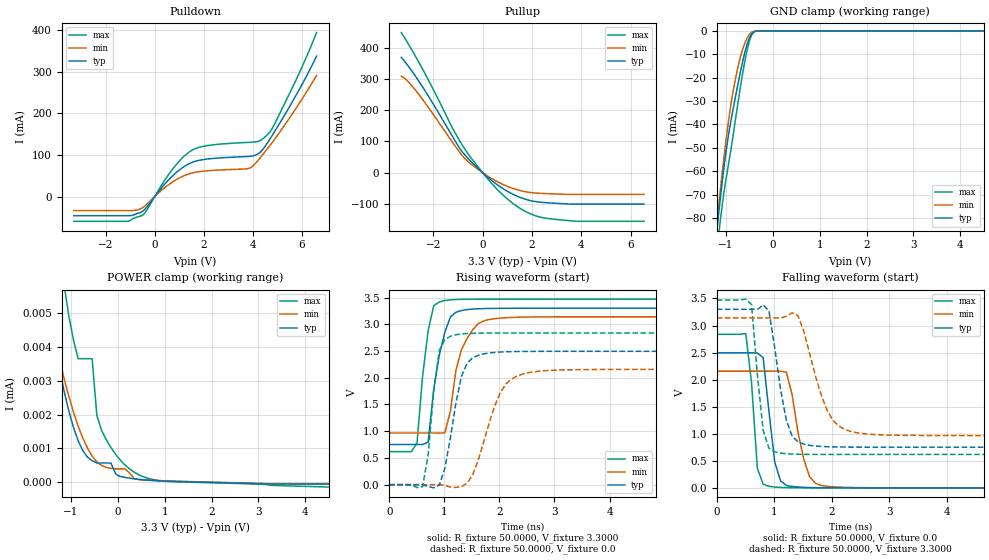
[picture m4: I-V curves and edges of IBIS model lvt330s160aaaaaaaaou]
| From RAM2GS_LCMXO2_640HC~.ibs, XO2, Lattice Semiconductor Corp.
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[Model]   lvt330s160aaaaaaaaou
Model_type   Output
Polarity   Non-Inverting
Enable   Active-Low
Vmeas =   1.500000V
Cref =   0.0F
Rref =   1.0000M
Vref =   0.0V
C_comp   4.2000pF   3.8000pF   7.5000pF
[Temperature Range]   25.0000   0.1050k   -40.0000
[Voltage Range]   3.3000V   3.1400V   3.4700V
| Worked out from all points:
|   slope of the pulldown table from 0 to 0.495 V, typ, clamps not added: 13.9 ohm
|   slope of the pullup table from 0 to 0.495 V, typ, clamps not added: 15.1 ohm
|   GND clamp passes 1 mA (typ) near -0.44 V on its own axis
|   rising waveform, R_fixture 50.0000, V_fixture 3.3000: 20-80 % time 241ps typ, 285ps min, 173ps max; typ from 0.752 V to 3.3 V
|   rising waveform, R_fixture 50.0000, V_fixture 0.0: 20-80 % time 262ps typ, 413ps min, 170ps max; typ from 0 V to 2.49 V
|   falling waveform, R_fixture 50.0000, V_fixture 0.0: 20-80 % time 158ps typ, 236ps min, 124ps max; typ from 2.49 V to 0 V
|   falling waveform, R_fixture 50.0000, V_fixture 3.3000: 20-80 % time 230ps typ, 378ps min, 152ps max; typ from 3.3 V to 0.752 V
[Pulldown]
|Voltage   I(typ)   I(min)   I(max)
-3.3V     -46.05mA   -33.74mA   -59.55mA
-1.1V     -46.05mA   -33.74mA   -59.55mA
-500mV    -35.8mA    -27.15mA   -45.23mA
700mV     48.06mA    34mA       63.55mA
1.5V      81.57mA    56.2mA     110.6mA
2.2V      90.42mA    62.08mA    122.9mA
3.8V      96.2mA     67.07mA    130.1mA
4.4V      112.6mA    100.4mA    138.4mA
4.7V      138.5mA    122.9mA    155.1mA
4.9V      157.3mA    138.6mA    176mA
5.9V      257.9mA    224.8mA    297.8mA
6.6V      337.4mA    290.9mA    394mA
[Pullup]
|Voltage   I(typ)   I(min)   I(max)
-3.3V     368.8mA    308.5mA    448.2mA
-3V       339mA      289.2mA    409.4mA
-2.6V     293.9mA    251.4mA    354.3mA
-1.2V     112.6mA    94.92mA    139.1mA
-800mV    64.3mA     52.05mA    84.62mA
-400mV    29.88mA    23.1mA     40.29mA
300mV     -20.61mA   -15.5mA    -28.44mA
1.2V      -67.79mA   -49.58mA   -96.57mA
1.9V      -88.52mA   -62.97mA   -130.2mA
2.7V      -96.45mA   -67.2mA    -146.9mA
3.8V      -100.5mA   -69.39mA   -155.3mA
6.55V     -100.5mA   -69.39mA   -155.4mA
[GND_clamp]
|Voltage   I(typ)   I(min)   I(max)
-3.3V     -955.3mA   -930.3mA   -978mA
-1.2V     -86.18mA   -82.93mA   -94.91mA
-1.15V    -76.73mA   -73.29mA   -85.74mA
-1.1V     -67.71mA   -63.95mA   -77.28mA
-1V       -51.52mA   -46.57mA   -63.21mA
-900mV    -38.87mA   -31.88mA   -51.26mA
-800mV    -28.25mA   -20.58mA   -37.97mA
-700mV    -18.1mA    -11.63mA   -24.81mA
-600mV    -9.267mA   -5.265mA   -13.06mA
-450mV    -1.181mA   -586.6uA   -1.592mA
-250mV    -3.532uA   -4.055uA   -3.003uA
6.6V      0A         0A         0A
[POWER_clamp]
|Voltage   I(typ)   I(min)   I(max)
-3.25V    664.8uA    749.4uA    597.1uA
-1.55V    5.917uA    5.715uA    11.4uA
-1.45V    4.99uA     4.976uA    9.754uA
-1.15V    2.706uA    3.075uA    5.866uA
-850mV    1.228uA    1.664uA    3.657uA
-550mV    633.4nA    768.7nA    3.657uA
-450mV    565.7nA    597.6nA    1.977uA
-150mV    565.7nA    406.3nA    1.026uA
0V        190.5nA    393.1nA    734.7nA
450mV     79.23nA    72.94nA    213.9nA
950mV     30.32nA    38.42nA    33.55nA
6.6V      -57.56nA   -49.34nA   -232.5nA
[Ramp]
| variable   typ   min   max
dV/dt_r  1.4966/0.2592n   1.2936/0.4087n   1.7021/0.1678n
dV/dt_f  1.5290/0.2281n   1.3043/0.3741n   1.7112/0.1501n
R_load = 50.0000
[Rising Waveform]
R_fixture=   50.0000
V_fixture=   3.3000
V_fixture_min=   3.1400
V_fixture_max=   3.4700
|time   V(typ)   V(min)   V(max)
0s        751.6mV    966.1mV    618mV
505.1ps   751.7mV    966.1mV    782.9mV
606.1ps   750.5mV    966.1mV    2.026V
707.1ps   795mV      966.1mV    2.88V
808.1ps   1.786V     966.4mV    3.346V
909.1ps   2.419V     965.5mV    3.418V
1.01ns    2.851V     968.1mV    3.444V
1.313ns   3.256V     2.529V     3.466V
1.818ns   3.296V     3.089V     3.47V
10ns      3.3V       3.14V      3.47V
[Rising Waveform]
R_fixture=   50.0000
V_fixture=   0.0
V_fixture_min=   0.0
V_fixture_max=   0.0
|time   V(typ)   V(min)   V(max)
0s        484.9nV    653.8nV    458.4nV
606.1ps   -928.3uV   2.015uV    -38.81mV
707.1ps   -36.03mV   19.4uV     559mV
909.1ps   -7.501mV   -591.8uV   2.51V
1.111ns   876.5mV    -46.71mV   2.776V
1.313ns   2.029V     -34.83mV   2.819V
1.414ns   2.272V     25.73mV    2.827V
2.02ns    2.481V     1.727V     2.837V
2.424ns   2.492V     2.07V      2.837V
10ns      2.494V     2.156V     2.837V
[Falling Waveform]
R_fixture=   50.0000
V_fixture=   0.0
V_fixture_min=   0.0
V_fixture_max=   0.0
|time   V(typ)   V(min)   V(max)
0s        2.494V     2.156V     2.837V
505.1ps   2.494V     2.156V     2.85V
707.1ps   2.49V      2.156V     363.7mV
808.1ps   2.407V     2.156V     67.81mV
909.1ps   1.413V     2.156V     29.42mV
1.111ns   126.2mV    2.154V     7.547mV
1.212ns   43.67mV    2.138V     3.842mV
1.616ns   6.181mV    206.6mV    298.8uV
1.818ns   2.479mV    45.08mV    130.9uV
10ns      9.129uV    5.31uV     7.474uV
[Falling Waveform]
R_fixture=   50.0000
V_fixture=   3.3000
V_fixture_min=   3.1400
V_fixture_max=   3.4700
|time   V(typ)   V(min)   V(max)
0s        3.3V       3.14V      3.47V
606.1ps   3.301V     3.14V      3.389V
808.1ps   3.378V     3.14V      1.064V
909.1ps   3.27V      3.14V      731.6mV
1.01ns    2.584V     3.142V     666.6mV
1.313ns   955.6mV    3.235V     624.4mV
1.515ns   808.3mV    2.893V     619.6mV
1.919ns   760.1mV    1.439V     618.1mV
2.323ns   753.1mV    1.046V     618mV
10ns      751.7mV    966.1mV    618mV
